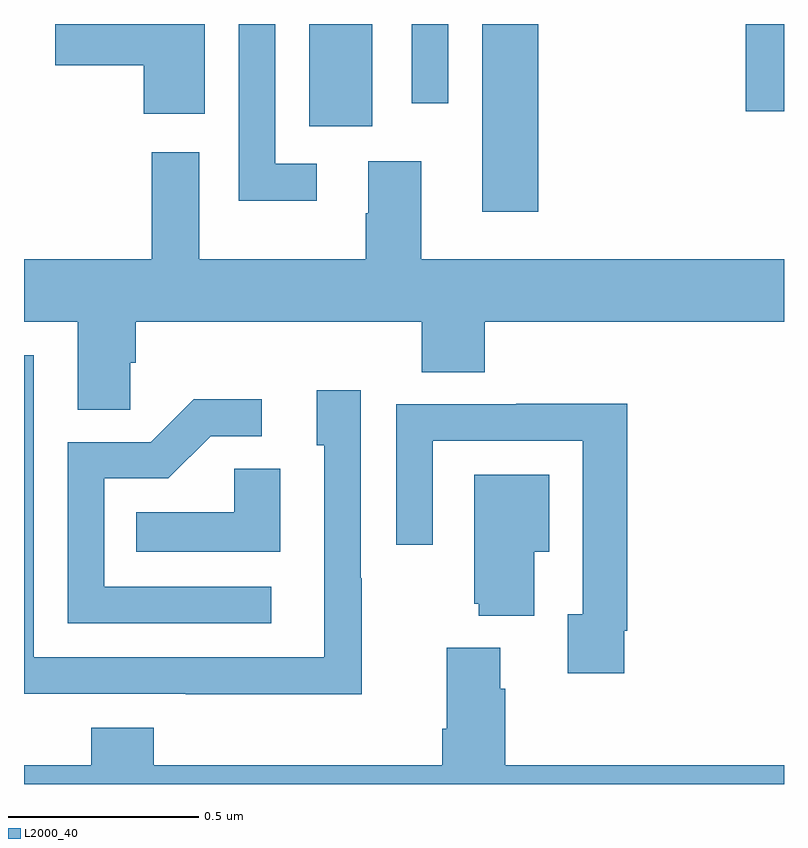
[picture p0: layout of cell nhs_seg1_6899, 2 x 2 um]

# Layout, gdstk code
import gdstk
lib = gdstk.Library(unit=1e-6, precision=1e-09)
def R(c, l, rs):  # rectangles x0, y0, x1, y1
    for r in rs: c.add(gdstk.rectangle(r[:2], r[2:], *l))
def P(c, l, *ps):  # polygons
    for p in ps: c.add(gdstk.Polygon(p, *l))
L2000_40 = (2000, 40)

nhs_seg1_6899 = lib.new_cell('nhs_seg1_6899')
R(nhs_seg1_6899, L2000_40, [(198.206,534.705,198.353,535.199), (197.75,534.93,197.917,535.199), (198.899,534.969,199,535.199), (198.021,534.99,198.117,535.199)])
P(nhs_seg1_6899, L2000_40, [(197.476,535.199),(197.082,535.199),(197.082,535.091),(197.315,535.091),(197.315,534.963),(197.476,534.963)],
  [(197.77,534.831),(197.661,534.831),(197.661,535.199),(197.565,535.199),(197.565,534.734),(197.77,534.734)],
  [(197.28,534.307),(197.294,534.307),(197.294,534.416),(198.047,534.416),(198.047,534.283),(198.212,534.283),(198.212,534.416),(199,534.416),(199,534.58),(198.046,534.58),(198.046,534.838),(197.906,534.838),(197.906,534.701),(197.899,534.701),(197.899,534.58),(197.461,534.58),(197.461,534.862),(197.336,534.862),(197.336,534.58),(197,534.58),(197,534.416),(197.141,534.416),(197.141,534.184),(197.28,534.184)],
  [(197.889,533.741),(197.886,533.741),(197.886,534.235),(197.771,534.235),(197.771,534.09),(197.79,534.09),(197.79,533.532),(197.025,533.532),(197.025,534.327),(197,534.327),(197,533.436),(197.425,533.436),(197.425,533.435),(197.889,533.435)],
  [(197.65,533.718),(197.211,533.718),(197.211,534.003),(197.38,534.003),(197.491,534.114),(197.626,534.114),(197.626,534.212),(197.447,534.212),(197.334,534.099),(197.115,534.099),(197.115,533.622),(197.65,533.622)],
  [(198.58,533.602),(198.587,533.602),(198.587,534.2),(198.295,534.2),(198.295,534.198),(197.979,534.198),(197.979,533.829),(198.075,533.829),(198.075,534.102),(198.471,534.102),(198.471,533.646),(198.431,533.646),(198.431,533.49),(198.58,533.49)],
  [(197.674,534.029),(197.553,534.029),(197.553,533.914),(197.296,533.914),(197.296,533.81),(197.674,533.81)],
  [(198.343,533.81),(198.382,533.81),(198.382,534.013),(198.185,534.013),(198.185,533.673),(198.197,533.673),(198.197,533.642),(198.343,533.642)],
  [(199,533.248),(198.266,533.248),(198.266,533.45),(198.253,533.45),(198.253,533.557),(198.113,533.557),(198.113,533.344),(198.101,533.344),(198.101,533.248),(197.342,533.248),(197.342,533.347),(197.177,533.347),(197.177,533.248),(197,533.248),(197,533.199),(199,533.199)])

lib.write_gds('nhs_seg1_6899.gds')
